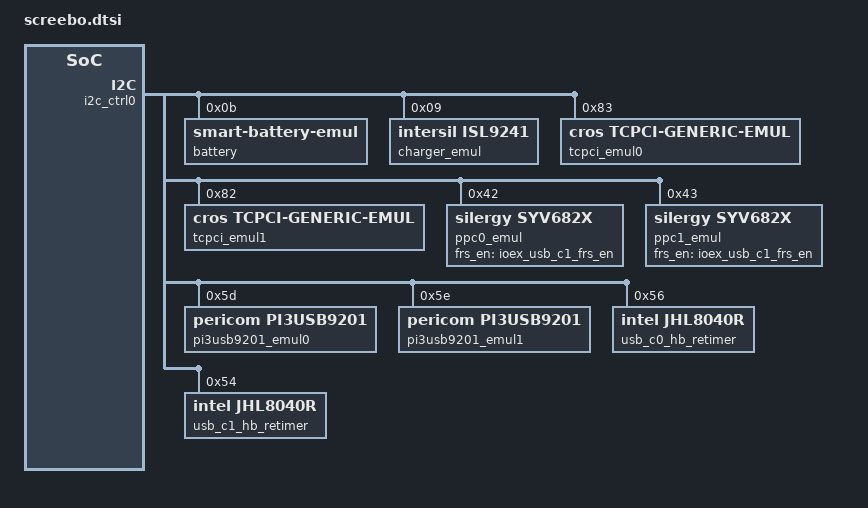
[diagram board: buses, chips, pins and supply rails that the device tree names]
/* Copyright 2023 The ChromiumOS Authors
 * Use of this source code is governed by a BSD-style license that can be
 * found in the LICENSE file.
 */

#include "../native_posix.overlay"
#include <npcx_emul.dts>
#include "../../../../program/rex/screebo/cbi.dtsi"

#include <dt-bindings/gpio_defines.h>
#include <dt-bindings/usb_pd_tcpm.h>

/ {
	/* Unused Stub */
	named-i2c-ports {
		compatible = "named-i2c-ports";

		named_i2c0: i2c0 {
			i2c-port = <&i2c0>;
			enum-names = "I2C_PORT_USB_MUX",
						 "I2C_PORT_BATTERY";
		};
	};

	usbc {
		#address-cells = <1>;
		#size-cells = <0>;
		port0@0 {
			compatible = "named-usbc-port";
			reg = <0>;

			bc12 = <&pi3usb9201_emul0>;
			tcpc = <&tcpci_emul0>;
			ppc = <&ppc0_emul>;
			chg = <&charger_emul>;
			usb-mux-chain-0 {
				compatible = "cros-ec,usb-mux-chain";
				usb-muxes = <&usb_c0_hb_retimer
					     &virtual_mux_c0>;
			};
		};
		port0-muxes {
			virtual_mux_c0: virtual-mux-c0 {
				compatible = "cros-ec,usbc-mux-virtual";
			};
		};

		port1@1 {
			compatible = "named-usbc-port";
			reg = <1>;

			bc12 = <&pi3usb9201_emul1>;
			tcpc = <&tcpci_emul1>;
			ppc = <&ppc0_emul>;
			usb-mux-chain-0 {
				compatible = "cros-ec,usb-mux-chain";
				usb-muxes = <&usb_c1_hb_retimer
					     &virtual_mux_c1>;
			};
		};
		port1-muxes {
			virtual_mux_c1: virtual-mux-c1 {
				compatible = "cros-ec,usbc-mux-virtual";
			};
		};
	};

	batteries {
		default_battery: lgc_ac17a8m {
			compatible = "lgc,ac17a8m", "battery-smart";
			/**
			 * this has to be strictly lower than the desired
			 * voltage in smart battery emulator (5000mV).
			 */
			voltage_min = <4000>;
		};
	};

	named-gpios {
		compatible = "named-gpios";

		gpio_usb_c0_ppc_int_odl: usb_c0_ppc_int_odl {
			gpios = <&gpio1 0 GPIO_INPUT>;
			enum-name = "GPIO_USB_C0_PPC_INT_ODL";
		};
		gpio_usb_c1_ppc_int_odl: usb_c1_ppc_int_odl {
			gpios = <&gpio1 1 GPIO_INPUT>;
			enum-name = "GPIO_USB_C1_PPC_INT_ODL";
		};
		gpio_usb_c1_rt_3p3_sx_en: usb_c1_rt_3p3_sx_en {
			gpios = <&gpio1 2 0>;
		};
		ioex_usb_c1_rt_rst_ls_l: usb_c1_rt_rst_ls_l {
			gpios = <&gpio1 3 0>;
		};
		ioex_usb_c1_frs_en: usb_c1_frs_en {
			gpios = <&gpio1 4 0>;
		};
		gpio_usb_c0_rt_3p3_sx_en: usb_c0_rt_3p3_sx_en {
			gpios = <&gpio1 5 GPIO_ODR_LOW>;
		};
		gpio_usb_c0_rt_int_odl: usb_c0_rt_int_odl {
			gpios = <&gpio1 6 GPIO_INPUT>;
		};
		ioex_usb_c0_rt_rst_ls_l: usb_c0_rt_rst_ls_l {
			gpios = <&gpio1 7 0>;
		};
		gpio_ec_pwr_btn_odl: ec_pwr_btn_odl {
			gpios = <&gpio3 0 GPIO_INPUT>;
			enum-name = "GPIO_POWER_BUTTON_L";
		};
		gpio_usb_c0_bc12_int_odl: usb_c0_bc12_int_odl {
			gpios = <&gpio3 1 GPIO_INPUT>;
			enum-name = "GPIO_USB_C0_BC12_INT_ODL";
		};
		gpio_usb_c1_bc12_int_odl: usb_c1_bc12_int_odl {
			gpios = <&gpio3 2 GPIO_INPUT>;
			enum-name = "GPIO_USB_C1_BC12_INT_ODL";
		};
	};
	gpio-interrupts {
		compatible = "cros-ec,gpio-interrupts";

		int_usb_c0_bc12: usb_c0_bc12 {
			irq-pin = <&gpio_usb_c0_bc12_int_odl>;
			flags = <GPIO_INT_EDGE_FALLING>;
			handler = "bc12_interrupt";
		};
		int_usb_c1_bc12: usb_c1_bc12 {
			irq-pin = <&gpio_usb_c1_bc12_int_odl>;
			flags = <GPIO_INT_EDGE_FALLING>;
			handler = "bc12_interrupt";
		};
		int_usb_c0_ppc: usb_c0_ppc {
			irq-pin = <&gpio_usb_c0_ppc_int_odl>;
			flags = <GPIO_INT_EDGE_FALLING>;
			handler = "ppc_interrupt";
		};
		int_usb_c1_ppc: usb_c1_ppc {
			irq-pin = <&gpio_usb_c1_ppc_int_odl>;
			flags = <GPIO_INT_EDGE_FALLING>;
			handler = "ppc_interrupt";
		};
	};

	aliases {
		ps-usb-c1-rt-rst-odl = &gpio_usb_c1_rt_rst_r_odl;
		nct-usb-c1-rst-odl = &gpio_usb_c1_rst_odl;
		hbr-usb-c1-rt-int-odl = &gpio_usb_c1_rt_int_odl;
		hbr-usb-c1-rt-pwr-en = &gpio_usb_c1_rt_3p3_sx_en;
		hbr-usb-c1-rt-rst = &ioex_usb_c1_rt_rst_ls_l;
		syv-usb-c1-frs-en = &ioex_usb_c1_frs_en;
	};
};

&i2c_ctrl0 {
	status = "okay";

	battery: sb@b {
		compatible = "zephyr,smart-battery-emul";
		status = "okay";
		reg = <0xb>;
		cycle-count = <99>;
		version = "BATTERY_SPEC_VER_1_1_WITH_PEC";
		/* Real battery voltages are multiples of 4.4V. */
		desired-charg-volt = <5000>;
		desired-charg-cur = <1000>;
		mf-name = "LGC";
		dev-name = "AC17A8M";
	};

	charger_emul: isl9241@9 {
		compatible = "intersil,isl9241";
		status = "okay";
		reg = <0x9>;
	};

	// nct38xx_emul0: nct38xx_emul@e0 {
	// 	compatible = "nuvoton,nct38xx";
	// 	reg = <0xe0>;
	// 	tcpc-flags = <(
	// 		TCPC_FLAGS_VBUS_MONITOR |
	// 		TCPC_FLAGS_ALERT_OD |
	// 		TCPC_FLAGS_CONTROL_VCONN |
	// 		TCPC_FLAGS_CONTROL_FRS)>;
	// };
	tcpci_emul0: tcpci_emul@83 {
		compatible = "cros,tcpci-generic-emul";
		status = "okay";
		reg = <0x83>;
	};
	// nct38xx_emul1: nct38xx_emul@e1 {
	// 	compatible = "nuvoton,nct38xx";
	// 	reg = <0xe1>;
	// 	tcpc-flags = <(
	// 		TCPC_FLAGS_VBUS_MONITOR |
	// 		TCPC_FLAGS_ALERT_OD |
	// 		TCPC_FLAGS_CONTROL_VCONN |
	// 		TCPC_FLAGS_CONTROL_FRS)>;
	// };
	tcpci_emul1: tcpci_emul@82 {
		compatible = "cros,tcpci-generic-emul";
		status = "okay";
		reg = <0x82>;
	};


	ppc0_emul: syv682x@42 {
		compatible = "silergy,syv682x", "cros,i2c-mock";
		status = "okay";
		reg = <0x42>;
		frs_en_gpio = <&ioex_usb_c1_frs_en>;
	};

	ppc1_emul: syv682x@43 {
		compatible = "silergy,syv682x", "cros,i2c-mock";
		status = "okay";
		reg = <0x43>;
		frs_en_gpio = <&ioex_usb_c1_frs_en>;
	};

	// ppc_nx20p348x_alt: nx20p348x@77 {
	// 	compatible = "nxp,nx20p348x";
	// 	status = "okay";
	// 	reg = <0x77>;
	// 	irq-gpios = <&gpio1 1 GPIO_INPUT>;
	// 	is-alt;
	// };

	pi3usb9201_emul0: pi3usb9201@5d {
		compatible = "pericom,pi3usb9201";
		status = "okay";
		reg = <0x5d>;
		irq = <&int_usb_c0_bc12>;
	};

	pi3usb9201_emul1: pi3usb9201@5e {
		compatible = "pericom,pi3usb9201";
		status = "okay";
		reg = <0x5e>;
		irq = <&int_usb_c1_bc12>;
	};

	usb_c0_hb_retimer: jhl9040r-c0@56 {
		compatible = "intel,jhl8040r";
		reg = <0x56>;
		ls-en-pin = <&gpio_usb_c0_rt_3p3_sx_en>;
		int-pin = <&gpio_usb_c0_rt_int_odl>;
		reset-pin = <&ioex_usb_c0_rt_rst_ls_l>;
	};

	usb_c1_hb_retimer: jhl9040r-c1@54 {
		compatible = "intel,jhl8040r";
		reg = <0x54>;
		ls-en-pin = <&gpio_usb_c0_rt_3p3_sx_en>;
		int-pin = <&gpio_usb_c0_rt_int_odl>;
		reset-pin = <&ioex_usb_c0_rt_rst_ls_l>;
	};
};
